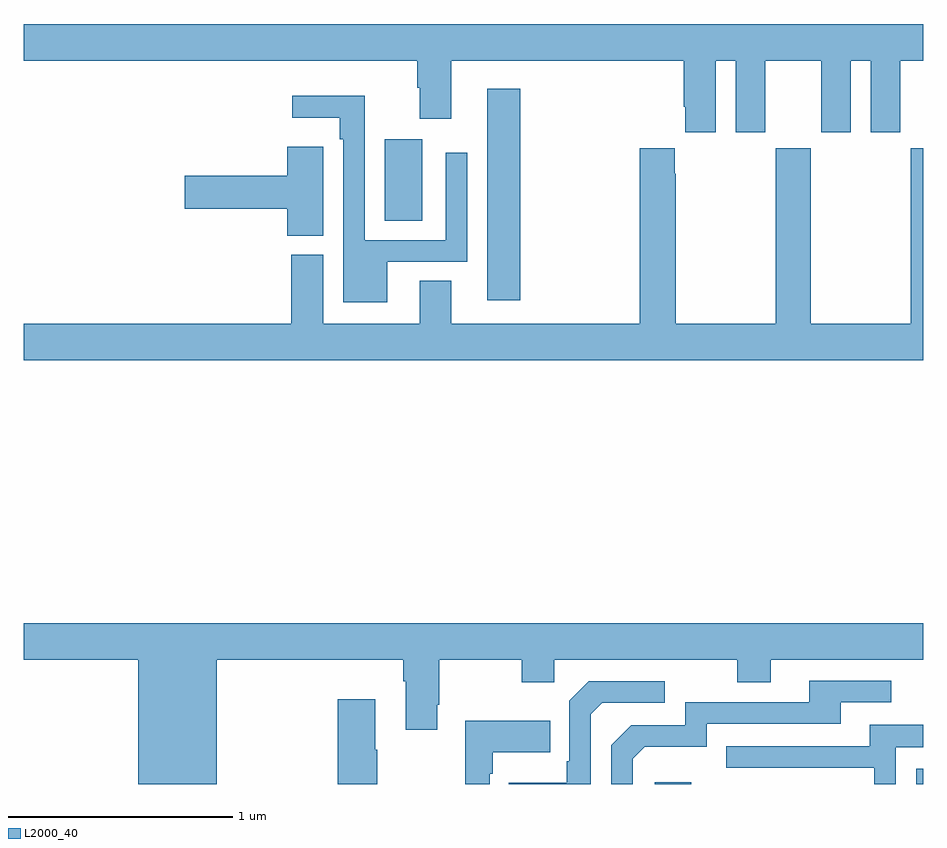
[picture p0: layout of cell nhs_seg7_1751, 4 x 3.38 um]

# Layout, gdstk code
import gdstk
lib = gdstk.Library(unit=1e-6, precision=1e-09)
def R(c, l, rs):  # rectangles x0, y0, x1, y1
    for r in rs: c.add(gdstk.rectangle(r[:2], r[2:], *l))
def P(c, l, *ps):  # polygons
    for p in ps: c.add(gdstk.Polygon(p, *l))
L2000_40 = (2000, 40)

nhs_seg7_1751 = lib.new_cell('nhs_seg7_1751')
R(nhs_seg7_1751, L2000_40, [(231.807,1064,231.968,1064.008), (232.968,1064,233,1064.068), (231.062,1066.152,231.209,1067.092), (230.606,1066.504,230.773,1066.867)])
P(nhs_seg7_1751, L2000_40, [(232.078,1067.216),(232.166,1067.216),(232.166,1066.899),(232.297,1066.899),(232.297,1067.216),(232.547,1067.216),(232.547,1066.899),(232.678,1066.899),(232.678,1067.216),(232.766,1067.216),(232.766,1066.899),(232.897,1066.899),(232.897,1067.216),(233,1067.216),(233,1067.38),(229,1067.38),(229,1067.216),(230.75,1067.216),(230.75,1067.096),(230.762,1067.096),(230.762,1066.959),(230.902,1066.959),(230.902,1067.216),(231.935,1067.216),(231.935,1067.011),(231.941,1067.011),(231.941,1066.899),(232.078,1066.899)],
  [(230.617,1066.323),(230.973,1066.323),(230.973,1066.807),(230.877,1066.807),(230.877,1066.419),(230.517,1066.419),(230.517,1067.062),(230.193,1067.062),(230.193,1066.964),(230.405,1066.964),(230.405,1066.868),(230.421,1066.868),(230.421,1066.142),(230.617,1066.142)],
  [(230.332,1066.721),(230.331,1066.721),(230.331,1066.834),(230.171,1066.834),(230.171,1066.706),(229.716,1066.706),(229.716,1066.559),(230.171,1066.559),(230.171,1066.438),(230.332,1066.438)],
  [(233,1066.828),(232.945,1066.828),(232.945,1066.048),(232.5,1066.048),(232.5,1066.828),(232.345,1066.828),(232.345,1066.048),(231.9,1066.048),(231.9,1066.715),(231.895,1066.715),(231.895,1066.828),(231.74,1066.828),(231.74,1066.048),(230.902,1066.048),(230.902,1066.238),(230.762,1066.238),(230.762,1066.048),(230.332,1066.048),(230.332,1066.353),(230.189,1066.353),(230.189,1066.048),(229,1066.048),(229,1065.884),(233,1065.884)],
  [(229.858,1064.552),(230.687,1064.552),(230.687,1064.456),(230.699,1064.456),(230.699,1064.241),(230.839,1064.241),(230.839,1064.353),(230.847,1064.353),(230.847,1064.552),(231.214,1064.552),(231.214,1064.453),(231.36,1064.453),(231.36,1064.552),(232.174,1064.552),(232.174,1064.453),(232.321,1064.453),(232.321,1064.552),(233,1064.552),(233,1064.716),(229,1064.716),(229,1064.552),(229.508,1064.552),(229.508,1064),(229.858,1064)],
  [(231.708,1064.112),(231.761,1064.165),(232.038,1064.165),(232.038,1064.268),(232.633,1064.268),(232.633,1064.364),(232.858,1064.364),(232.858,1064.46),(232.493,1064.46),(232.493,1064.364),(231.942,1064.364),(231.942,1064.262),(231.702,1064.262),(231.612,1064.172),(231.612,1064),(231.708,1064)],
  [(231.522,1064.31),(231.573,1064.361),(231.85,1064.361),(231.85,1064.457),(231.513,1064.457),(231.426,1064.37),(231.426,1064.101),(231.414,1064.101),(231.414,1064.005),(231.157,1064.005),(231.157,1064),(231.522,1064)],
  [(230.571,1064.153),(230.563,1064.153),(230.563,1064.377),(230.396,1064.377),(230.396,1064),(230.571,1064)],
  [(231.072,1064.045),(231.085,1064.045),(231.085,1064.141),(231.341,1064.141),(231.341,1064.281),(230.964,1064.281),(230.964,1064),(231.072,1064)],
  [(232.878,1064.163),(233,1064.163),(233,1064.263),(232.763,1064.263),(232.763,1064.169),(232.123,1064.169),(232.123,1064.073),(232.782,1064.073),(232.782,1064),(232.878,1064)])

lib.write_gds('nhs_seg7_1751.gds')
